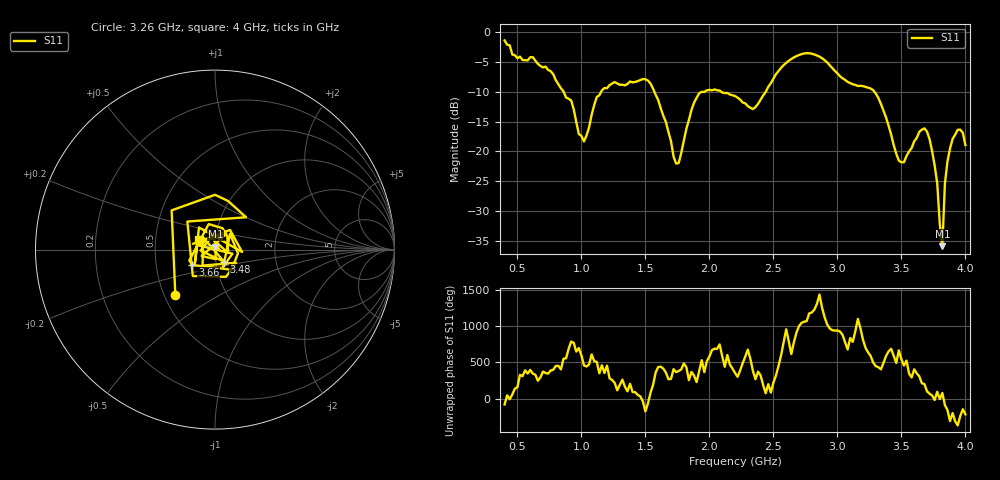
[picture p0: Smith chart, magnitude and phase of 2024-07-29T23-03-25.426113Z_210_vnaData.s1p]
!Created with skrf (http://scikit-rf.org).
# Hz S RI R 50.0
!freq ReS11 ImS11
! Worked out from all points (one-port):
!   181 points, 400 MHz to 4 GHz, reference 50 ohm
!   lowest |S11| = -35.9 dB at 3.82 GHz (marker M1), VSWR 1.03, Z = 50.2 + j1.58 ohm
!   |S11| at or under -10 dB: 1.57 GHz to 1.963 GHz (392.6 MHz wide, 22.2 % of centre); 2.093 GHz to 2.441 GHz (348.1 MHz wide, 15.4 % of centre); 3.289 GHz to end of sweep (the widest 3 of 4)
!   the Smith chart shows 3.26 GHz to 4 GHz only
!   S11 on the Smith chart (normalised r, x): 3.26 GHz: 0.57, -0.33; 3.48 GHz: 1.09, -0.15; 3.66 GHz: 0.77, -0.13; 4 GHz: 0.82, +0.10
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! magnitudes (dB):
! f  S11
! 400 MHz  -1.4
! 720 MHz  -5.8
! 860 MHz  -9.9
! 920 MHz  -11.5
! 1.02 GHz  -18.4
! 1.12 GHz  -10.9
! 1.3 GHz  -8.8
! 1.54 GHz  -8.6
! 1.76 GHz  -22.0
! 1.86 GHz  -13.1
! 1.92 GHz  -10.3
! 2.2 GHz  -10.7
! 2.34 GHz  -12.9
! 2.66 GHz  -4.2
! 2.86 GHz  -4.1
! 3.1 GHz  -8.6
! 3.26 GHz  -9.5
! 3.34 GHz  -12.0
! 3.48 GHz  -21.6
! 3.56 GHz  -20.0
! 3.66 GHz  -16.4
! 3.7 GHz  -16.7
! 3.76 GHz  -22.4
! 3.82 GHz  -35.9
! 3.84 GHz  -25.4
! 3.88 GHz  -19.5
! 3.94 GHz  -16.4
! 4 GHz  -19.0
